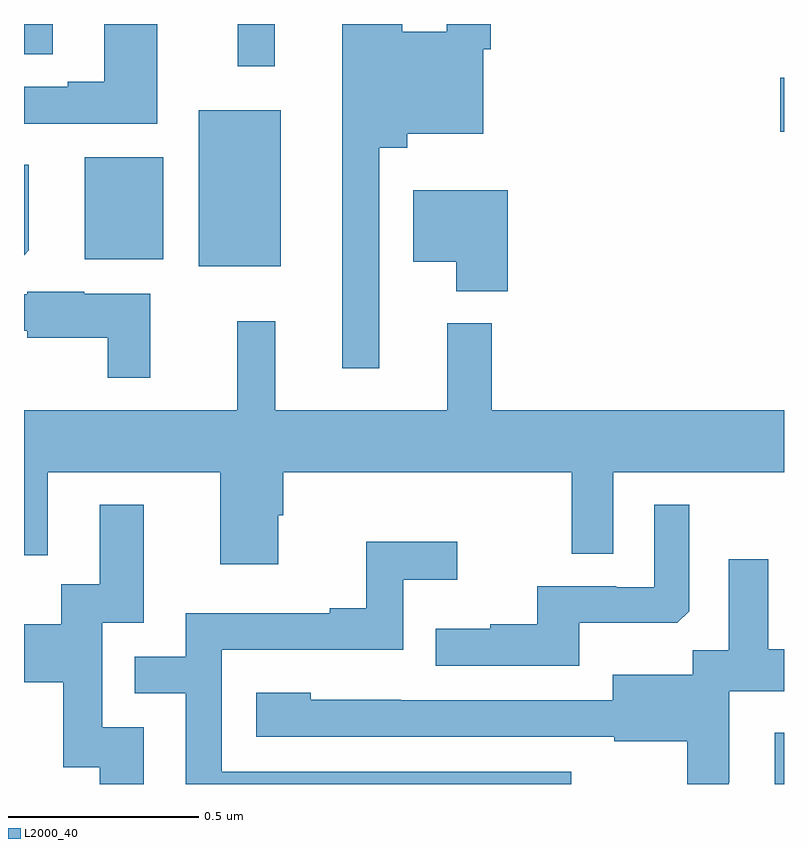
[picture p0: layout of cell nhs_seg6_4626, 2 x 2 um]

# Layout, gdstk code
import gdstk
lib = gdstk.Library(unit=1e-6, precision=1e-09)
def R(c, l, rs):  # rectangles x0, y0, x1, y1
    for r in rs: c.add(gdstk.rectangle(r[:2], r[2:], *l))
def P(c, l, *ps):  # polygons
    for p in ps: c.add(gdstk.Polygon(p, *l))
L2000_40 = (2000, 40)

nhs_seg6_4626 = lib.new_cell('nhs_seg6_4626')
R(nhs_seg6_4626, L2000_40, [(173.975,962.5,174,962.635), (172.46,963.863,172.675,964.273), (172.16,963.881,172.366,964.15), (173.99,964.217,174,964.359), (172.562,964.389,172.66,964.5), (172,964.42,172.075,964.5)])
P(nhs_seg6_4626, L2000_40, [(172.351,964.5),(172.211,964.5),(172.211,964.348),(172.115,964.348),(172.115,964.335),(172,964.335),(172,964.238),(172.351,964.238)],
  [(172.935,964.175),(173.009,964.175),(173.009,964.211),(173.208,964.211),(173.208,964.433),(173.228,964.433),(173.228,964.5),(173.112,964.5),(173.112,964.48),(172.996,964.48),(172.996,964.5),(172.838,964.5),(172.838,963.594),(172.935,963.594)],
  [(172.012,963.904),(172.012,964.129),(172,964.129),(172,963.892)],
  [(173.273,964.063),(173.024,964.063),(173.024,963.875),(173.138,963.875),(173.138,963.797),(173.273,963.797)],
  [(172.332,963.79),(172.158,963.79),(172.158,963.796),(172.008,963.796),(172.008,963.789),(172,963.789),(172,963.693),(172.008,963.693),(172.008,963.674),(172.221,963.674),(172.221,963.569),(172.332,963.569)],
  [(172.669,963.207),(172.682,963.207),(172.682,963.32),(173.442,963.32),(173.442,963.106),(173.55,963.106),(173.55,963.32),(174,963.32),(174,963.484),(173.231,963.484),(173.231,963.712),(173.114,963.712),(173.114,963.484),(172.661,963.484),(172.661,963.718),(172.561,963.718),(172.561,963.484),(172,963.484),(172,963.102),(172.063,963.102),(172.063,963.32),(172.517,963.32),(172.517,963.078),(172.669,963.078)],
  [(173.461,962.924),(173.719,962.924),(173.751,962.955),(173.751,963.235),(173.658,963.235),(173.658,963.018),(173.558,963.018),(173.558,963.021),(173.351,963.021),(173.351,962.92),(173.227,962.92),(173.227,962.908),(173.083,962.908),(173.083,962.811),(173.461,962.811)],
  [(172.315,962.649),(172.206,962.649),(172.206,962.925),(172.315,962.925),(172.315,963.235),(172.199,963.235),(172.199,963.026),(172.098,963.026),(172.098,962.92),(172,962.92),(172,962.768),(172.103,962.768),(172.103,962.544),(172.199,962.544),(172.199,962.5),(172.315,962.5)],
  [(173.44,962.532),(172.521,962.532),(172.521,962.853),(172.998,962.853),(172.998,963.038),(173.14,963.038),(173.14,963.137),(172.9,963.137),(172.9,962.962),(172.805,962.962),(172.805,962.949),(172.425,962.949),(172.425,962.835),(172.291,962.835),(172.291,962.739),(172.425,962.739),(172.425,962.5),(173.44,962.5)],
  [(173.854,962.503),(173.856,962.503),(173.856,962.744),(174,962.744),(174,962.854),(173.959,962.854),(173.959,963.091),(173.855,963.091),(173.855,962.852),(173.76,962.852),(173.76,962.788),(173.549,962.788),(173.549,962.721),(172.991,962.721),(172.991,962.722),(172.755,962.722),(172.755,962.74),(172.611,962.74),(172.611,962.625),(173.553,962.625),(173.553,962.613),(173.745,962.613),(173.745,962.5),(173.854,962.5)])

lib.write_gds('nhs_seg6_4626.gds')
